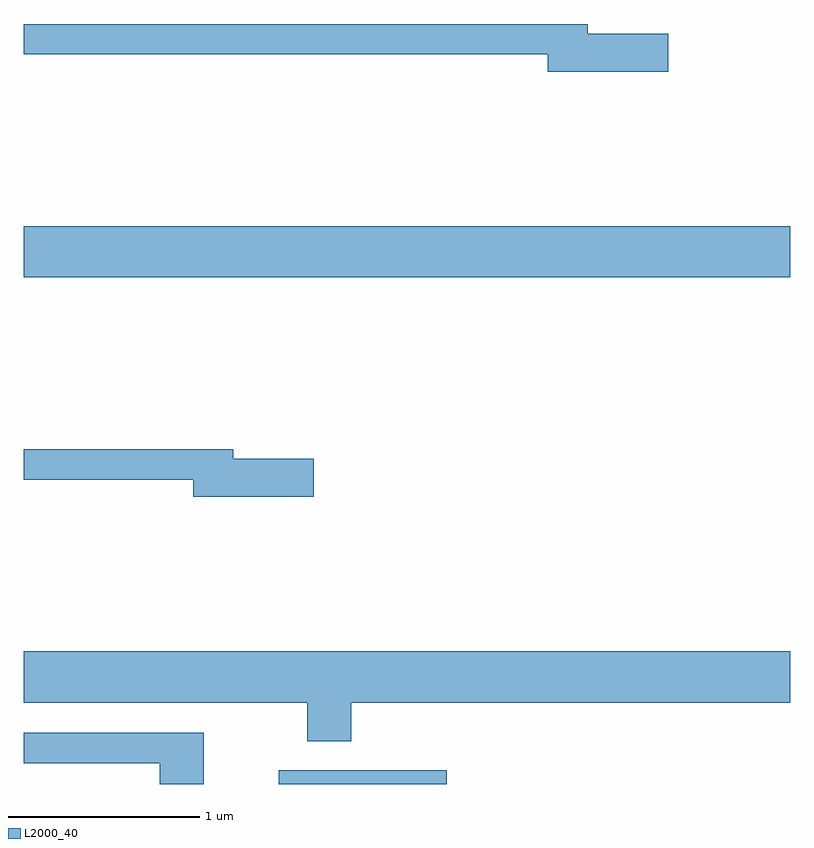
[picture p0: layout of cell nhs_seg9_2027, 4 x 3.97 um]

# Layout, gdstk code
import gdstk
lib = gdstk.Library(unit=1e-6, precision=1e-09)
def R(c, l, rs):  # rectangles x0, y0, x1, y1
    for r in rs: c.add(gdstk.rectangle(r[:2], r[2:], *l))
def P(c, l, *ps):  # polygons
    for p in ps: c.add(gdstk.Polygon(p, *l))
L2000_40 = (2000, 40)

nhs_seg9_2027 = lib.new_cell('nhs_seg9_2027')
R(nhs_seg9_2027, L2000_40, [(244.941,2062.432,245.818,2062.504), (243.611,2065.076,247.611,2065.344)])
P(nhs_seg9_2027, L2000_40, [(246.974,2066.349),(246.554,2066.349),(246.554,2066.399),(243.611,2066.399),(243.611,2066.241),(246.346,2066.241),(246.346,2066.151),(246.974,2066.151)],
  [(245.124,2064.129),(244.704,2064.129),(244.704,2064.179),(243.611,2064.179),(243.611,2064.021),(244.496,2064.021),(244.496,2063.931),(245.124,2063.931)],
  [(245.319,2062.856),(247.611,2062.856),(247.611,2063.124),(243.611,2063.124),(243.611,2062.856),(245.091,2062.856),(245.091,2062.656),(245.319,2062.656)],
  [(244.549,2062.699),(243.611,2062.699),(243.611,2062.541),(244.321,2062.541),(244.321,2062.432),(244.549,2062.432)])

lib.write_gds('nhs_seg9_2027.gds')
